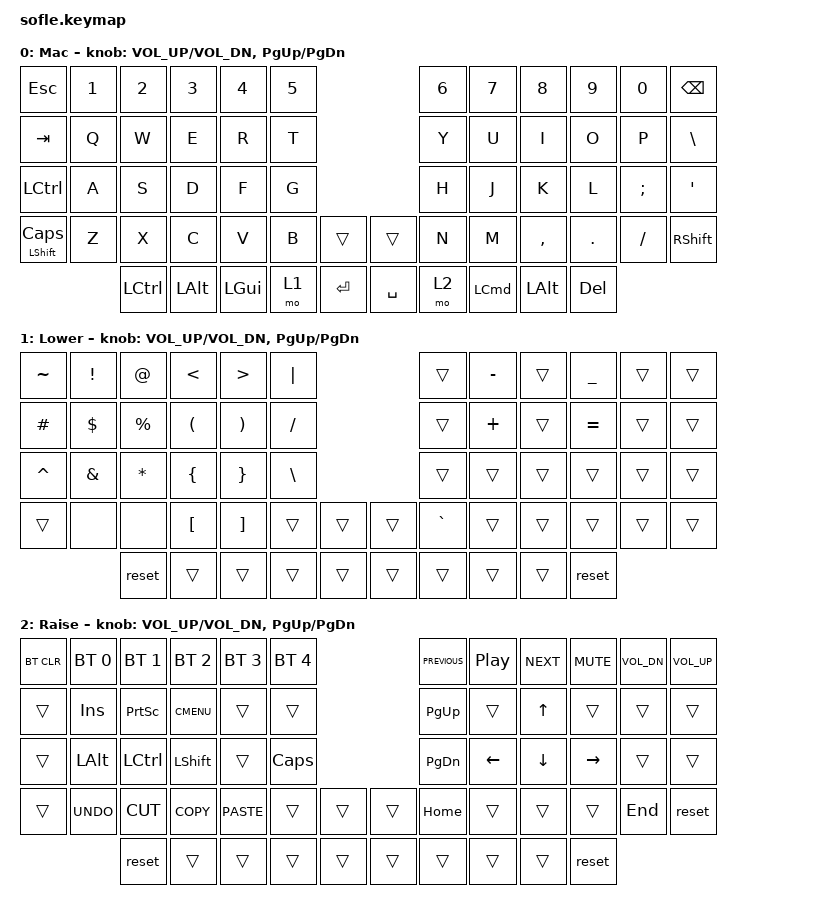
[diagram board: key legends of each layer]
/*
 * Copyright (c) 2020 The ZMK Contributors
 *
 * SPDX-License-Identifier: MIT
 */

#include <behaviors.dtsi>
#include <dt-bindings/zmk/keys.h>
#include <dt-bindings/zmk/bt.h>

// Power functions
#include <dt-bindings/zmk/ext_power.h>

// RGB
// #include <dt-bindings/zmk/rgb.h>

#define HOST_OS 0  // set to 0 for WindowsCompose
#include "../zmk-nodefree-config/helper.h"

#define DEFAULT 0
#define LOWER   1
#define RAISE   2


/ {
    keymap {
    keymap {
        compatible = "zmk,keymap";

        mac_layer {
            label = "Mac";
            bindings = <
                 &kp ESC  &kp N1     &kp N2    &kp N3    &kp N4  &kp N5                      &kp N6            &kp N7        &kp N8      &kp N9    &kp N0   &kp BSPC
                 &kp TAB   &kp Q      &kp W     &kp E     &kp R   &kp T                       &kp Y             &kp U         &kp I       &kp O     &kp P   &kp BSLH
               &kp LCTRL   &kp A      &kp S     &kp D     &kp F   &kp G                       &kp H             &kp J         &kp K       &kp L  &kp SEMI    &kp SQT
 &mt LEFT_SHIFT CAPSLOCK   &kp Z      &kp X     &kp C     &kp V   &kp B   &trans     &trans   &kp N             &kp M     &kp COMMA  &kp PERIOD  &kp FSLH  &kp RSHFT
                                  &kp LCTRL  &kp LALT  &kp LGUI   &mo 1  &kp RET  &kp SPACE   &mo 2  &kp LEFT_COMMAND  &kp LEFT_ALT     &kp DEL
            >;

            sensor-bindings = <&inc_dec_kp C_VOL_UP C_VOL_DN &inc_dec_kp PG_UP PG_DN>;
        };

        lower_layer {
            label = "Lower";

            bindings = <
 &kp TILDE  &kp EXCLAMATION       &kp AT         &kp LESS_THAN       &kp GREATER_THAN       &kp PIPE                     &trans         &kp MINUS  &trans  &kp UNDERSCORE  &trans  &trans
 &kp POUND       &kp DOLLAR  &kp PERCENT  &kp LEFT_PARENTHESIS  &kp RIGHT_PARENTHESIS      &kp SLASH                     &trans         &kp PLUS   &trans       &kp EQUAL   &trans  &trans
 &kp CARET         &kp AMPS    &kp ASTRK        &kp LEFT_BRACE        &kp RIGHT_BRACE  &kp BACKSLASH                     &trans          &trans    &trans          &trans   &trans  &trans
    &trans            &none        &none      &kp LEFT_BRACKET      &kp RIGHT_BRACKET         &trans  &trans  &trans     &kp GRAVE       &trans    &trans          &trans   &trans  &trans
                                  &reset                &trans                 &trans         &trans  &trans  &trans     &trans            &trans    &trans          &reset
            >;

            sensor-bindings = <&inc_dec_kp C_VOL_UP C_VOL_DN &inc_dec_kp PG_UP PG_DN>;
        };

        raise_layer {
            label = "Raise";
            bindings = <
&bt BT_CLR &bt BT_SEL 0 &bt BT_SEL 1 &bt BT_SEL 2 &bt BT_SEL 3 &bt BT_SEL 4             &kp C_PREVIOUS  &kp C_PLAY_PAUSE  &kp C_NEXT  &kp C_MUTE  &kp C_VOL_DN  &kp C_VOLUME_UP
&trans     &kp INS      &kp PSCRN    &kp K_CMENU  &trans       &trans                   &kp PG_UP          &trans      &kp UP      &trans        &trans           &trans
&trans     &kp LALT     &kp LCTRL    &kp LSHFT    &trans       &kp CLCK                 &kp PG_DN          &kp LEFT    &kp DOWN   &kp RIGHT        &trans           &trans
&trans     &kp K_UNDO   &kp K_CUT    &kp K_COPY   &kp K_PASTE  &trans  &trans   &trans  &kp HOME            &trans      &trans      &trans       &kp END           &reset
                        &reset      &trans       &trans       &trans  &trans   &trans  &trans            &trans      &trans      &reset
            >;

            sensor-bindings = <&inc_dec_kp C_VOL_UP C_VOL_DN &inc_dec_kp PG_UP PG_DN>;
        };
 
    };
};
